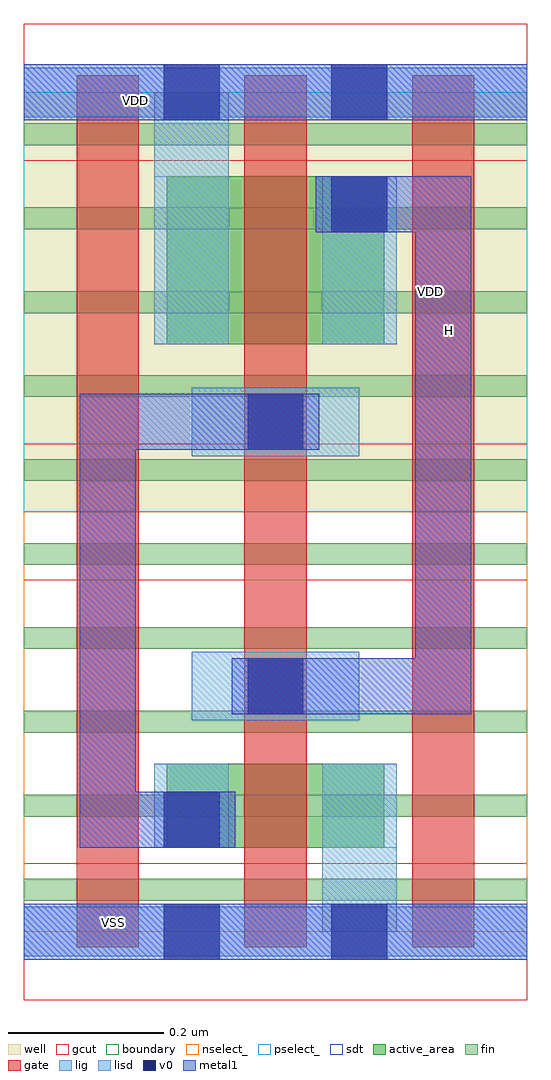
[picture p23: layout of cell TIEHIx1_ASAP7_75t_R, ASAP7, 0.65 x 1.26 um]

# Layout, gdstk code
import gdstk
lib = gdstk.Library(unit=1e-6, precision=2.5e-10)
def R(c, l, rs):  # rectangles x0, y0, x1, y1
    for r in rs: c.add(gdstk.rectangle(r[:2], r[2:], *l))
def A(c, l, x, y, w, h, nx, ny, dx, dy):  # array of equal rectangles
    R(c, l, [(x+i*dx, y+j*dy, x+i*dx+w, y+j*dy+h) for i in range(nx) for j in range(ny)])
def P(c, l, *ps):  # polygons
    for p in ps: c.add(gdstk.Polygon(p, *l))
well = (1, 0)
fin = (2, 0)
gate = (7, 0)
gcut = (10, 0)
active_area = (11, 0)
nselect_ = (12, 0)
pselect_ = (13, 0)
lig = (16, 0)
lisd = (17, 0)
v0 = (18, 0)
metal1 = (19, 0)
sdt = (88, 0)
boundary = (100, 0)

tiehix1_asap7_75t_r = lib.new_cell('TIEHIx1_ASAP7_75t_R')
R(tiehix1_asap7_75t_r, well, [(0,0.54,0.648,1.08)])
A(tiehix1_asap7_75t_r, fin, 0, 0.04, 0.648, 0.028, 1, 10, 0, 0.108)
A(tiehix1_asap7_75t_r, gate, 0.068, -0.02, 0.08, 1.122, 3, 1, 0.216, 0)
A(tiehix1_asap7_75t_r, gcut, 0, -0.088, 0.648, 0.176, 1, 3, 0, 0.54)
R(tiehix1_asap7_75t_r, active_area, [(0.184,0.108,0.464,0.216), (0.184,0.756,0.464,0.972)])
R(tiehix1_asap7_75t_r, nselect_, [(0,0,0.648,0.54)])
R(tiehix1_asap7_75t_r, pselect_, [(0,0.54,0.648,1.08)])
R(tiehix1_asap7_75t_r, lig, [(0,-0.032,0.648,0.032), (0.216,0.272,0.432,0.36), (0.216,0.612,0.432,0.7), (0,1.048,0.648,1.112)])
R(tiehix1_asap7_75t_r, lisd, [(0.384,0,0.48,0.216), (0.168,0.108,0.264,0.216), (0.168,0.756,0.264,1.08), (0.384,0.756,0.48,0.972)])
R(tiehix1_asap7_75t_r, v0, [(0.18,-0.036,0.252,0.036), (0.396,-0.036,0.468,0.036), (0.18,0.108,0.252,0.18), (0.288,0.28,0.36,0.352), (0.288,0.62,0.36,0.692), (0.396,0.9,0.468,0.972), (0.18,1.044,0.252,1.116), (0.396,1.044,0.468,1.116)])
R(tiehix1_asap7_75t_r, metal1, [(0,-0.036,0.648,0.036), (0,1.044,0.648,1.116)])
P(tiehix1_asap7_75t_r, metal1, [(0.576,0.972),(0.376,0.972),(0.376,0.9),(0.504,0.9),(0.504,0.352),(0.268,0.352),(0.268,0.28),(0.576,0.28)],
  [(0.38,0.692),(0.072,0.692),(0.072,0.108),(0.272,0.108),(0.272,0.18),(0.144,0.18),(0.144,0.62),(0.38,0.62)])
R(tiehix1_asap7_75t_r, sdt, [(0.168,0.108,0.264,0.216), (0.384,0.108,0.48,0.216), (0.168,0.756,0.264,0.972), (0.384,0.756,0.48,0.972)])
R(tiehix1_asap7_75t_r, boundary, [(0,0,0.648,1.08)])
tiehix1_asap7_75t_r.add(gdstk.Label('VDD', (0.144,1.07), layer=19, texttype=251))
tiehix1_asap7_75t_r.add(gdstk.Label('VSS', (0.116,0.012), layer=19, texttype=251))
tiehix1_asap7_75t_r.add(gdstk.Label('H', (0.548,0.774), layer=19, texttype=251))
tiehix1_asap7_75t_r.add(gdstk.Label('VDD', (0.524,0.824), layer=1, texttype=251))
tiehix1_asap7_75t_r.add(gdstk.Label('VSS', (0.8,0.82), layer=3, texttype=251))

lib.write_gds('TIEHIx1_ASAP7_75t_R.gds')
